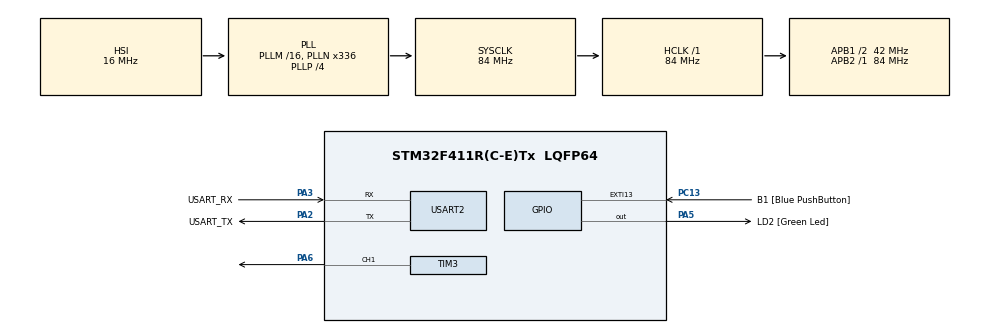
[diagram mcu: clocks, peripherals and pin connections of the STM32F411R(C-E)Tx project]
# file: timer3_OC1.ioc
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Mcu.Family=STM32F4
Mcu.Name=STM32F411R(C-E)Tx
Mcu.Package=LQFP64
NVIC.PriorityGroup=NVIC_PRIORITYGROUP_0
NVIC.TIM3_IRQn=true\:0\:0\:false\:false\:true\:true\:true\:true
PA13.GPIO_Label=TMS
PA13.Mode=Serial_Wire
PA13.Signal=SYS_JTMS-SWDIO
PA14.GPIO_Label=TCK
PA14.Mode=Serial_Wire
PA14.Signal=SYS_JTCK-SWCLK
PA2.GPIO_Label=USART_TX
PA2.Mode=Asynchronous
PA2.Signal=USART2_TX
PA3.GPIO_Label=USART_RX
PA3.Mode=Asynchronous
PA3.Signal=USART2_RX
PA5.GPIO_Label=LD2 [Green Led]
PA5.Signal=GPIO_Output
PA6.Signal=S_TIM3_CH1
PB3.GPIO_Label=SWO
PB3.Signal=SYS_JTDO-SWO
PC13-ANTI_TAMP.GPIO_Label=B1 [Blue PushButton]
PC13-ANTI_TAMP.GPIO_ModeDefaultEXTI=GPIO_MODE_IT_FALLING
PC13-ANTI_TAMP.Signal=GPXTI13
PC14-OSC32_IN.Signal=RCC_OSC32_IN
PC15-OSC32_OUT.Signal=RCC_OSC32_OUT
PH0\ -\ OSC_IN.Signal=RCC_OSC_IN
PH1\ -\ OSC_OUT.Signal=RCC_OSC_OUT
ProjectManager.HeapSize=0x200
ProjectManager.StackSize=0x400
ProjectManager.TargetToolchain=STM32CubeIDE
RCC.48MHZClocksFreq_Value=84000000
RCC.AHBFreq_Value=84000000
RCC.APB1CLKDivider=RCC_HCLK_DIV2
RCC.APB1Freq_Value=42000000
RCC.APB1TimFreq_Value=84000000
RCC.APB2Freq_Value=84000000
RCC.APB2TimFreq_Value=84000000
RCC.CortexFreq_Value=84000000
RCC.FLatency-AdvancedSettings=FLASH_LATENCY_2
RCC.HCLKFreq_Value=84000000
RCC.HSE_VALUE=8000000
RCC.HSI_VALUE=16000000
RCC.LSE_VALUE=32768
RCC.PLLN=336
RCC.PLLP=RCC_PLLP_DIV4
RCC.SYSCLKFreq_VALUE=84000000
RCC.SYSCLKSource=RCC_SYSCLKSOURCE_PLLCLK
RCC.VCOOutputFreq_Value=336000000
SH.S_TIM3_CH1.0=TIM3_CH1,Output Compare1 CH1
TIM3.AutoReloadPreload=TIM_AUTORELOAD_PRELOAD_ENABLE
TIM3.Channel-Output\ Compare1\ CH1=TIM_CHANNEL_1
TIM3.OCMode_1=TIM_OCMODE_TOGGLE
TIM3.Period=10000-1
TIM3.Prescaler=8400-1
TIM3.Pulse-Output\ Compare1\ CH1=5000-1
USART2.VirtualMode=VM_ASYNC
VP_TIM3_VS_ClockSourceINT.Mode=Internal
board=NUCLEO-F411RE

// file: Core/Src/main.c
/* USER CODE BEGIN Header */
/**
  ******************************************************************************
  * @file           : main.c
  * @brief          : Main program body
  ******************************************************************************
  * @attention
  *
  * Copyright (c) 2025 STMicroelectronics.
  * All rights reserved.
  *
  * This software is licensed under terms that can be found in the LICENSE file
  * in the root directory of this software component.
  * If no LICENSE file comes with this software, it is provided AS-IS.
  *
  ******************************************************************************
  */
/* USER CODE END Header */
#include "main.h"

/* USER CODE BEGIN Includes */
#include <stdio.h>
/* USER CODE END Includes */

/* USER CODE BEGIN PD */
#ifdef __GNUC__
/* With GCC, small printf (option LD Linker->Libraries->Small printf
   set to 'Yes') calls __io_putchar() */
#define PUTCHAR_PROTOTYPE int __io_putchar(int ch)
#else
#define PUTCHAR_PROTOTYPE int fputc(int ch, FILE *f)
#endif /* __GNUC__ */
/* USER CODE END PD */

TIM_HandleTypeDef htim3;

UART_HandleTypeDef huart2;

/* USER CODE BEGIN PV */
volatile int time3SecFlag = 0;
volatile unsigned int time3SecCnt=0;
/* USER CODE END PV */

void SystemClock_Config(void);
static void MX_GPIO_Init(void);
static void MX_USART2_UART_Init(void);
static void MX_TIM3_Init(void);

int main(void)
{

  /* USER CODE BEGIN 1 */
	//int cnt=0;
	//static unsigned int time3Cnt =0;
  /* USER CODE END 1 */

  /* MCU Configuration--------------------------------------------------------*/

  /* Reset of all peripherals, Initializes the Flash interface and the Systick. */
  HAL_Init();

  /* Configure the system clock */
  SystemClock_Config();

  /* Initialize all configured peripherals */
  MX_GPIO_Init();
  MX_USART2_UART_Init();
  MX_TIM3_Init();
  /* USER CODE BEGIN 2 */
  printf("Main Start!!\r\n");
  if(HAL_TIM_Base_Start_IT(&htim3) != HAL_OK)
	  Error_Handler();
  if(HAL_TIM_OC_Start_IT(&htim3,TIM_CHANNEL_1) != HAL_OK)
	  Error_Handler();
  /* USER CODE END 2 */

  /* Infinite loop */
  /* USER CODE BEGIN WHILE */
  while (1)
  {
	  if(time3SecFlag)
	  {
		  //HAL_GPIO_TogglePin(LD2_GPIO_Port,LD2_Pin);
		  time3SecFlag = 0;
		  printf("time3Seccnt : %d\r\n",time3SecCnt);
	  }
    /* USER CODE END WHILE */

  }
}

void SystemClock_Config(void)
{
  RCC_OscInitTypeDef RCC_OscInitStruct = {0};
  RCC_ClkInitTypeDef RCC_ClkInitStruct = {0};

  /** Configure the main internal regulator output voltage
  */
  __HAL_RCC_PWR_CLK_ENABLE();
  __HAL_PWR_VOLTAGESCALING_CONFIG(PWR_REGULATOR_VOLTAGE_SCALE1);

  /** Initializes the RCC Oscillators according to the specified parameters
  * in the RCC_OscInitTypeDef structure.
  */
  RCC_OscInitStruct.OscillatorType = RCC_OSCILLATORTYPE_HSI;
  RCC_OscInitStruct.HSIState = RCC_HSI_ON;
  RCC_OscInitStruct.HSICalibrationValue = RCC_HSICALIBRATION_DEFAULT;
  RCC_OscInitStruct.PLL.PLLState = RCC_PLL_ON;
  RCC_OscInitStruct.PLL.PLLSource = RCC_PLLSOURCE_HSI;
  RCC_OscInitStruct.PLL.PLLM = 16;
  RCC_OscInitStruct.PLL.PLLN = 336;
  RCC_OscInitStruct.PLL.PLLP = RCC_PLLP_DIV4;
  RCC_OscInitStruct.PLL.PLLQ = 4;
  if (HAL_RCC_OscConfig(&RCC_OscInitStruct) != HAL_OK)
  {
    Error_Handler();
  }

  /** Initializes the CPU, AHB and APB buses clocks
  */
  RCC_ClkInitStruct.ClockType = RCC_CLOCKTYPE_HCLK|RCC_CLOCKTYPE_SYSCLK
                              |RCC_CLOCKTYPE_PCLK1|RCC_CLOCKTYPE_PCLK2;
  RCC_ClkInitStruct.SYSCLKSource = RCC_SYSCLKSOURCE_PLLCLK;
  RCC_ClkInitStruct.AHBCLKDivider = RCC_SYSCLK_DIV1;
  RCC_ClkInitStruct.APB1CLKDivider = RCC_HCLK_DIV2;
  RCC_ClkInitStruct.APB2CLKDivider = RCC_HCLK_DIV1;

  if (HAL_RCC_ClockConfig(&RCC_ClkInitStruct, FLASH_LATENCY_2) != HAL_OK)
  {
    Error_Handler();
  }
}

static void MX_TIM3_Init(void)
{

  TIM_ClockConfigTypeDef sClockSourceConfig = {0};
  TIM_MasterConfigTypeDef sMasterConfig = {0};
  TIM_OC_InitTypeDef sConfigOC = {0};

  htim3.Instance = TIM3;
  htim3.Init.Prescaler = 8400-1;
  htim3.Init.CounterMode = TIM_COUNTERMODE_UP;
  htim3.Init.Period = 10000-1;
  htim3.Init.ClockDivision = TIM_CLOCKDIVISION_DIV1;
  htim3.Init.AutoReloadPreload = TIM_AUTORELOAD_PRELOAD_ENABLE;
  if (HAL_TIM_Base_Init(&htim3) != HAL_OK)
  {
    Error_Handler();
  }
  sClockSourceConfig.ClockSource = TIM_CLOCKSOURCE_INTERNAL;
  if (HAL_TIM_ConfigClockSource(&htim3, &sClockSourceConfig) != HAL_OK)
  {
    Error_Handler();
  }
  if (HAL_TIM_OC_Init(&htim3) != HAL_OK)
  {
    Error_Handler();
  }
  sMasterConfig.MasterOutputTrigger = TIM_TRGO_RESET;
  sMasterConfig.MasterSlaveMode = TIM_MASTERSLAVEMODE_DISABLE;
  if (HAL_TIMEx_MasterConfigSynchronization(&htim3, &sMasterConfig) != HAL_OK)
  {
    Error_Handler();
  }
  sConfigOC.OCMode = TIM_OCMODE_TOGGLE;
  sConfigOC.Pulse = 5000-1;
  sConfigOC.OCPolarity = TIM_OCPOLARITY_HIGH;
  sConfigOC.OCFastMode = TIM_OCFAST_DISABLE;
  if (HAL_TIM_OC_ConfigChannel(&htim3, &sConfigOC, TIM_CHANNEL_1) != HAL_OK)
  {
    Error_Handler();
  }
  HAL_TIM_MspPostInit(&htim3);

}

static void MX_USART2_UART_Init(void)
{

  huart2.Instance = USART2;
  huart2.Init.BaudRate = 115200;
  huart2.Init.WordLength = UART_WORDLENGTH_8B;
  huart2.Init.StopBits = UART_STOPBITS_1;
  huart2.Init.Parity = UART_PARITY_NONE;
  huart2.Init.Mode = UART_MODE_TX_RX;
  huart2.Init.HwFlowCtl = UART_HWCONTROL_NONE;
  huart2.Init.OverSampling = UART_OVERSAMPLING_16;
  if (HAL_UART_Init(&huart2) != HAL_OK)
  {
    Error_Handler();
  }

}

static void MX_GPIO_Init(void)
{
  GPIO_InitTypeDef GPIO_InitStruct = {0};

  /* GPIO Ports Clock Enable */
  __HAL_RCC_GPIOC_CLK_ENABLE();
  __HAL_RCC_GPIOH_CLK_ENABLE();
  __HAL_RCC_GPIOA_CLK_ENABLE();
  __HAL_RCC_GPIOB_CLK_ENABLE();

  /*Configure GPIO pin Output Level */
  HAL_GPIO_WritePin(LD2_GPIO_Port, LD2_Pin, GPIO_PIN_RESET);

  /*Configure GPIO pin : B1_Pin */
  GPIO_InitStruct.Pin = B1_Pin;
  GPIO_InitStruct.Mode = GPIO_MODE_IT_FALLING;
  GPIO_InitStruct.Pull = GPIO_NOPULL;
  HAL_GPIO_Init(B1_GPIO_Port, &GPIO_InitStruct);

  /*Configure GPIO pin : LD2_Pin */
  GPIO_InitStruct.Pin = LD2_Pin;
  GPIO_InitStruct.Mode = GPIO_MODE_OUTPUT_PP;
  GPIO_InitStruct.Pull = GPIO_NOPULL;
  GPIO_InitStruct.Speed = GPIO_SPEED_FREQ_LOW;
  HAL_GPIO_Init(LD2_GPIO_Port, &GPIO_InitStruct);

}

/* USER CODE BEGIN 4 */
/**
  * @brief  Retargets the C library printf function to the USART.
  * @param  None
  * @retval None
  */
PUTCHAR_PROTOTYPE
{
  /* Place your implementation of fputc here */
  /* e.g. write a character to the USART6 and Loop until the end of transmission */
  HAL_UART_Transmit(&huart2, (uint8_t *)&ch, 1, 0xFFFF);

  return ch;
}
void HAL_TIM_PeriodElapsedCallback(TIM_HandleTypeDef *htim)
{
	if(htim->Instance == TIM3)
	{
		time3SecCnt++;
		time3SecFlag=1;
//		HAL_GPIO_TogglePin(GPIOB,LD2_Pin);
	}
}
void HAL_TIM_OC_DelayElapsedCallback(TIM_HandleTypeDef *htim)
{
	if(htim->Instance == TIM3)
	{
		HAL_GPIO_TogglePin(GPIOA,LD2_Pin);
	}
}
/* USER CODE END 4 */

void Error_Handler(void)
{
  __disable_irq();
  while (1)
  {
  }
}
